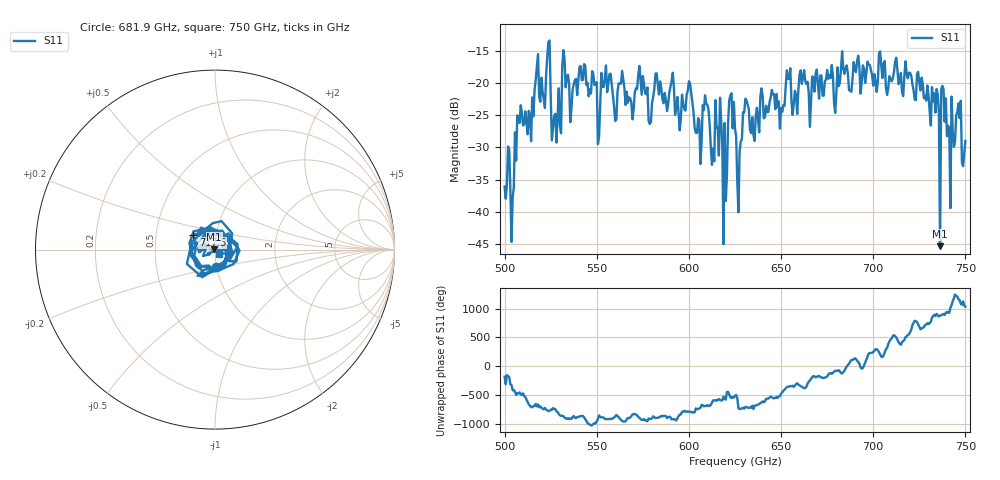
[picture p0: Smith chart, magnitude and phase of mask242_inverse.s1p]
!Created with skrf (http://scikit-rf.org).
# GHz S MA R 50.0
!freq magS11 angS11
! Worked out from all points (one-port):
!   401 points, 500 GHz to 750 GHz, reference 50 ohm
!   lowest |S11| = -45.3 dB at 736.2 GHz (marker M1), VSWR 1.01, Z = 49.5 + j0.203 ohm
!   |S11| at or under -10 dB: start of sweep to end of sweep
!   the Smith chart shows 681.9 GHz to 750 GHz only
!   S11 on the Smith chart (normalised r, x): 681.9 GHz: 0.99, -0.20; 717.5 GHz: 0.77, +0.13; 750 GHz: 1.05, -0.06
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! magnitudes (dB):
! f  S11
! 500 GHz  -36.1
! 504.4 GHz  -37.8
! 517.5 GHz  -17.6
! 523.8 GHz  -13.7
! 526.9 GHz  -25.1
! 531.2 GHz  -17.6
! 562.5 GHz  -20.1
! 593.8 GHz  -22.2
! 600 GHz  -19.7
! 605.6 GHz  -25.8
! 609.4 GHz  -23.2
! 612.5 GHz  -32.7
! 616.9 GHz  -22.3
! 619.4 GHz  -26.2
! 622.5 GHz  -21.9
! 625 GHz  -27.1
! 627.5 GHz  -30.6
! 630.6 GHz  -22.4
! 656.2 GHz  -25.0
! 681.9 GHz  -20.0
! 687.5 GHz  -21.2
! 717.5 GHz  -16.7
! 718.8 GHz  -19.3
! 736.2 GHz  -45.3
! 738.1 GHz  -20.9
! 743.1 GHz  -27.4
! 746.2 GHz  -23.2
! 750 GHz  -29.0
